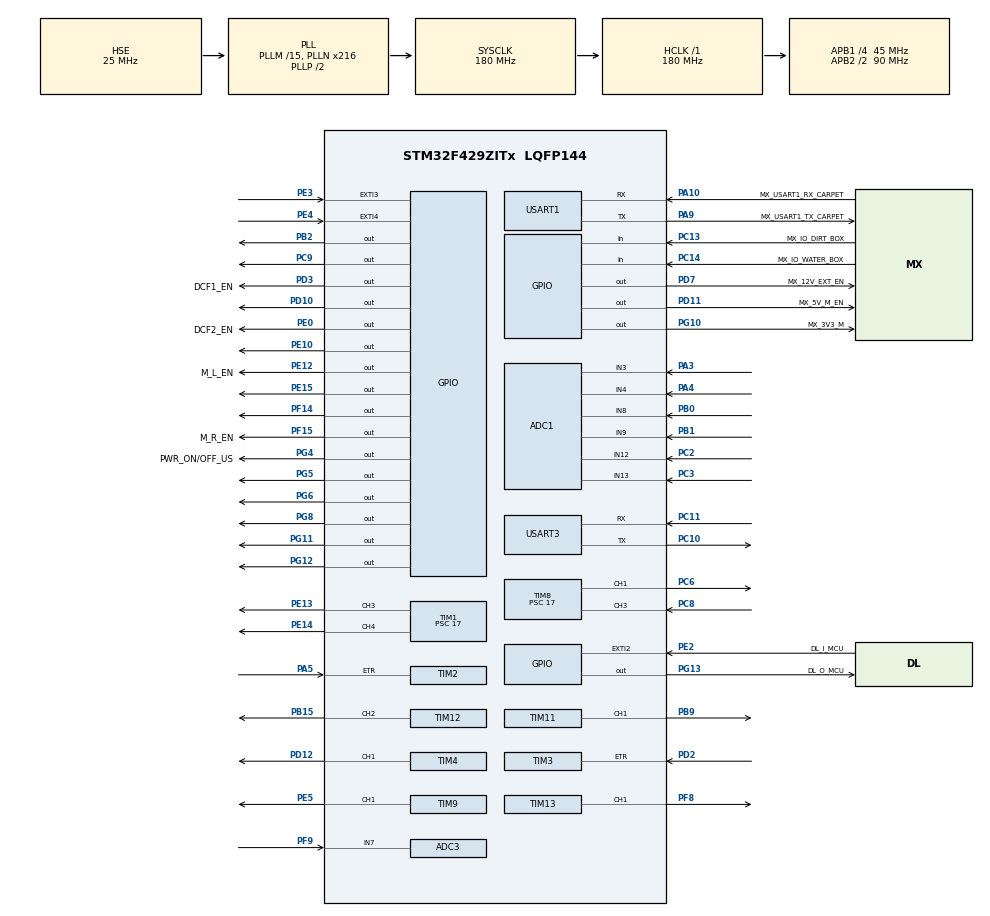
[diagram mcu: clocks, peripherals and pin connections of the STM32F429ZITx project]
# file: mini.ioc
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ADC1.Channel-0\#ChannelRegularConversion=ADC_CHANNEL_12
ADC1.ClockPrescaler=ADC_CLOCK_SYNC_PCLK_DIV4
ADC1.NbrOfConversionFlag=1
ADC1.Rank-0\#ChannelRegularConversion=1
ADC1.SamplingTime-0\#ChannelRegularConversion=ADC_SAMPLETIME_3CYCLES
ADC1.master=1
ADC3.Channel-0\#ChannelRegularConversion=ADC_CHANNEL_7
ADC3.ClockPrescaler=ADC_CLOCK_SYNC_PCLK_DIV4
ADC3.NbrOfConversionFlag=1
ADC3.Rank-0\#ChannelRegularConversion=1
ADC3.SamplingTime-0\#ChannelRegularConversion=ADC_SAMPLETIME_3CYCLES
Dma.Request0=USART3_RX
Dma.Request1=USART3_TX
Dma.USART3_RX.0.Direction=DMA_PERIPH_TO_MEMORY
Dma.USART3_RX.0.FIFOMode=DMA_FIFOMODE_DISABLE
Dma.USART3_RX.0.Instance=DMA1_Stream1
Dma.USART3_RX.0.MemDataAlignment=DMA_MDATAALIGN_BYTE
Dma.USART3_RX.0.MemInc=DMA_MINC_ENABLE
Dma.USART3_RX.0.Mode=DMA_CIRCULAR
Dma.USART3_RX.0.PeriphDataAlignment=DMA_PDATAALIGN_BYTE
Dma.USART3_RX.0.PeriphInc=DMA_PINC_DISABLE
Dma.USART3_RX.0.Priority=DMA_PRIORITY_VERY_HIGH
Dma.USART3_TX.1.Direction=DMA_MEMORY_TO_PERIPH
Dma.USART3_TX.1.FIFOMode=DMA_FIFOMODE_DISABLE
Dma.USART3_TX.1.Instance=DMA1_Stream3
Dma.USART3_TX.1.MemDataAlignment=DMA_MDATAALIGN_BYTE
Dma.USART3_TX.1.MemInc=DMA_MINC_ENABLE
Dma.USART3_TX.1.Mode=DMA_NORMAL
Dma.USART3_TX.1.PeriphDataAlignment=DMA_PDATAALIGN_BYTE
Dma.USART3_TX.1.PeriphInc=DMA_PINC_DISABLE
Dma.USART3_TX.1.Priority=DMA_PRIORITY_VERY_HIGH
FREERTOS.Tasks01=defaultTask,24,128,StartDefaultTask,Default,NULL,Static,defaultTaskBuffer,defaultTaskControlBlock;microros,24,1024,task_uros_run,As weak,NULL,Dynamic,NULL,NULL
FREERTOS.configGENERATE_RUN_TIME_STATS=1
FREERTOS.configTOTAL_HEAP_SIZE=30000
FREERTOS.configUSE_STATS_FORMATTING_FUNCTIONS=1
Mcu.Family=STM32F4
Mcu.Name=STM32F429ZITx
Mcu.Package=LQFP144
NVIC.DMA1_Stream1_IRQn=true\:5\:0\:false\:false\:true\:true\:false\:true
NVIC.DMA1_Stream3_IRQn=true\:5\:0\:false\:false\:true\:true\:false\:true
NVIC.EXTI2_IRQn=true\:5\:0\:false\:false\:true\:true\:true\:true
NVIC.EXTI3_IRQn=true\:5\:0\:false\:false\:true\:true\:true\:true
NVIC.EXTI4_IRQn=true\:5\:0\:false\:false\:true\:true\:true\:true
NVIC.PriorityGroup=NVIC_PRIORITYGROUP_4
NVIC.TIM2_IRQn=true\:5\:0\:false\:false\:true\:true\:true\:true
NVIC.TIM3_IRQn=true\:5\:0\:false\:false\:true\:true\:true\:true
NVIC.TIM6_DAC_IRQn=true\:15\:0\:false\:false\:true\:false\:false\:true
NVIC.TIM8_CC_IRQn=true\:5\:0\:false\:false\:true\:true\:true\:true
NVIC.TimeBase=TIM6_DAC_IRQn
NVIC.TimeBaseIP=TIM6
NVIC.USART1_IRQn=true\:5\:0\:false\:false\:true\:true\:true\:true
NVIC.USART3_IRQn=true\:5\:0\:false\:false\:true\:true\:true\:true
PA10.GPIO_Label=MX_USART1_RX_CARPET
PA10.Mode=Asynchronous
PA10.Signal=USART1_RX
PA3.Signal=ADCx_IN3
PA4.Signal=ADCx_IN4
PA5.Signal=S_TIM2_CH1_ETR
PA9.GPIO_Label=MX_USART1_TX_CARPET
PA9.Mode=Asynchronous
PA9.Signal=USART1_TX
PB0.Signal=ADCx_IN8
PB1.Signal=ADCx_IN9
PB15.Signal=S_TIM12_CH2
PB2/BOOT1.Signal=GPIO_Output
PB9.Signal=S_TIM11_CH1
PC10.Mode=Asynchronous
PC10.Signal=USART3_TX
PC11.Mode=Asynchronous
PC11.Signal=USART3_RX
PC13.GPIO_Label=MX_IO_DIRT_BOX
PC13.Signal=GPIO_Input
PC14/OSC32_IN.GPIO_Label=MX_IO_WATER_BOX
PC14/OSC32_IN.Signal=GPIO_Input
PC2.Signal=ADCx_IN12
PC3.Signal=ADCx_IN13
PC6.Signal=S_TIM8_CH1
PC8.Signal=S_TIM8_CH3
PC9.Signal=GPIO_Output
PD10.Signal=GPIO_Output
PD11.GPIO_Label=MX_5V_M_EN
PD11.GPIO_PuPd=GPIO_PULLUP
PD11.PinState=GPIO_PIN_SET
PD11.Signal=GPIO_Output
PD12.Signal=S_TIM4_CH1
PD2.Signal=S_TIM3_ETR
PD3.GPIO_Label=DCF1_EN
PD3.GPIO_PuPd=GPIO_PULLDOWN
PD3.Signal=GPIO_Output
PD7.GPIO_Label=MX_12V_EXT_EN
PD7.GPIO_PuPd=GPIO_PULLUP
PD7.PinState=GPIO_PIN_SET
PD7.Signal=GPIO_Output
PE0.GPIO_Label=DCF2_EN
PE0.GPIO_PuPd=GPIO_PULLDOWN
PE0.Signal=GPIO_Output
PE10.Signal=GPIO_Output
PE12.GPIO_Label=M_L_EN
PE12.GPIO_PuPd=GPIO_PULLUP
PE12.PinState=GPIO_PIN_SET
PE12.Signal=GPIO_Output
PE13.Signal=S_TIM1_CH3
PE14.Signal=S_TIM1_CH4
PE15.Signal=GPIO_Output
PE2.GPIO_Label=DL_I_MCU
PE2.GPIO_PuPd=GPIO_PULLDOWN
PE2.Signal=GPXTI2
PE3.GPIO_ModeDefaultEXTI=GPIO_MODE_IT_FALLING
PE3.GPIO_PuPd=GPIO_PULLUP
PE3.Signal=GPXTI3
PE4.GPIO_ModeDefaultEXTI=GPIO_MODE_IT_FALLING
PE4.GPIO_PuPd=GPIO_PULLUP
PE4.Signal=GPXTI4
PE5.Signal=S_TIM9_CH1
PF14.Signal=GPIO_Output
PF15.GPIO_Label=M_R_EN
PF15.GPIO_PuPd=GPIO_PULLUP
PF15.PinState=GPIO_PIN_SET
PF15.Signal=GPIO_Output
PF8.Signal=S_TIM13_CH1
PF9.Mode=IN7
PF9.Signal=ADC3_IN7
PG10.GPIO_Label=MX_3V3_M
PG10.GPIO_PuPd=GPIO_PULLUP
PG10.PinState=GPIO_PIN_SET
PG10.Signal=GPIO_Output
PG11.Signal=GPIO_Output
PG12.Signal=GPIO_Output
PG13.GPIO_Label=DL_O_MCU
PG13.GPIO_PuPd=GPIO_PULLUP
PG13.PinState=GPIO_PIN_SET
PG13.Signal=GPIO_Output
PG4.GPIO_Label=PWR_ON/OFF_US
PG4.GPIO_PuPd=GPIO_PULLUP
PG4.PinState=GPIO_PIN_SET
PG4.Signal=GPIO_Output
PG5.Signal=GPIO_Output
PG6.Signal=GPIO_Output
PG8.GPIO_PuPd=GPIO_PULLUP
PG8.PinState=GPIO_PIN_SET
PG8.Signal=GPIO_Output
PH0/OSC_IN.Mode=HSE-External-Oscillator
PH0/OSC_IN.Signal=RCC_OSC_IN
PH1/OSC_OUT.Mode=HSE-External-Oscillator
PH1/OSC_OUT.Signal=RCC_OSC_OUT
ProjectManager.HeapSize=0x4000
ProjectManager.StackSize=0x1000
ProjectManager.TargetToolchain=Makefile
RCC.48MHZClocksFreq_Value=90000000
RCC.AHBFreq_Value=180000000
RCC.APB1CLKDivider=RCC_HCLK_DIV4
RCC.APB1Freq_Value=45000000
RCC.APB1TimFreq_Value=90000000
RCC.APB2CLKDivider=RCC_HCLK_DIV2
RCC.APB2Freq_Value=90000000
RCC.APB2TimFreq_Value=180000000
RCC.CortexFreq_Value=180000000
RCC.HCLKFreq_Value=180000000
RCC.HSE_VALUE=25000000
RCC.HSI_VALUE=16000000
RCC.LSE_VALUE=32768
RCC.PLLM=15
RCC.PLLN=216
RCC.PLLSourceVirtual=RCC_PLLSOURCE_HSE
RCC.SYSCLKFreq_VALUE=180000000
RCC.SYSCLKSource=RCC_SYSCLKSOURCE_PLLCLK
RCC.VCOOutputFreq_Value=360000000
SH.ADCx_IN12.0=ADC1_IN12,IN12
SH.ADCx_IN13.0=ADC1_IN13,IN13
SH.ADCx_IN3.0=ADC1_IN3,IN3
SH.ADCx_IN4.0=ADC1_IN4,IN4
SH.ADCx_IN8.0=ADC1_IN8,IN8
SH.ADCx_IN9.0=ADC1_IN9,IN9
SH.S_TIM11_CH1.0=TIM11_CH1,PWM Generation1 CH1
SH.S_TIM12_CH2.0=TIM12_CH2,PWM Generation2 CH2
SH.S_TIM13_CH1.0=TIM13_CH1,PWM Generation1 CH1
SH.S_TIM1_CH3.0=TIM1_CH3,PWM Generation3 CH3
SH.S_TIM1_CH4.0=TIM1_CH4,PWM Generation4 CH4
SH.S_TIM2_CH1_ETR.0=TIM2_ETR,ClockSourceETR_Mode2
SH.S_TIM3_ETR.0=TIM3_ETR,ClockSourceETR_Mode2
SH.S_TIM4_CH1.0=TIM4_CH1,PWM Generation1 CH1
SH.S_TIM8_CH1.0=TIM8_CH1,PWM Generation1 CH1
SH.S_TIM8_CH3.0=TIM8_CH3,Input_Capture3_from_TI3
SH.S_TIM9_CH1.0=TIM9_CH1,PWM Generation1 CH1
TIM1.Channel-PWM\ Generation3\ CH3=TIM_CHANNEL_3
TIM1.Channel-PWM\ Generation4\ CH4=TIM_CHANNEL_4
TIM1.OCIdleState_4=TIM_OCIDLESTATE_RESET
TIM1.OCPolarity_4=TIM_OCPOLARITY_HIGH
TIM1.Period=249
TIM1.Prescaler=17
TIM11.Channel=TIM_CHANNEL_1
TIM11.Period=24
TIM11.Prescaler=179
TIM12.Channel-PWM\ Generation2\ CH2=TIM_CHANNEL_2
TIM12.OCPolarity_2=TIM_OCPOLARITY_HIGH
TIM12.Period=249
TIM12.Prescaler=17
TIM13.Channel=TIM_CHANNEL_1
TIM13.OCPolarity_1=TIM_OCPOLARITY_LOW
TIM13.Period=249
TIM13.Prescaler=17
TIM2.AutoReloadPreload=TIM_AUTORELOAD_PRELOAD_ENABLE
TIM2.Period=0xFFFFFFFF
TIM3.AutoReloadPreload=TIM_AUTORELOAD_PRELOAD_ENABLE
TIM3.Period=0xffff
TIM4.Channel-PWM\ Generation1\ CH1=TIM_CHANNEL_1
TIM4.OCPolarity_1=TIM_OCPOLARITY_HIGH
TIM4.Period=24
TIM4.Prescaler=179
TIM8.Channel-Input_Capture3_from_TI3=TIM_CHANNEL_3
TIM8.Channel-PWM\ Generation1\ CH1=TIM_CHANNEL_1
TIM8.Period=249
TIM8.Prescaler=17
TIM9.Channel-PWM\ Generation1\ CH1=TIM_CHANNEL_1
TIM9.OCPolarity_1=TIM_OCPOLARITY_HIGH
TIM9.Period=249
TIM9.Prescaler=17
USART1.VirtualMode=VM_ASYNC
USART3.VirtualMode=VM_ASYNC
VP_FREERTOS_VS_CMSIS_V2.Mode=CMSIS_V2
VP_RTC_VS_RTC_Activate.Mode=RTC_Enabled
VP_RTC_VS_RTC_Calendar.Mode=RTC_Calendar
VP_SYS_VS_tim6.Mode=TIM6
VP_TIM11_VS_ClockSourceINT.Mode=Enable_Timer
VP_TIM12_VS_ClockSourceINT.Mode=Internal
VP_TIM13_VS_ClockSourceINT.Mode=Enable_Timer
VP_TIM1_VS_ClockSourceINT.Mode=Internal
VP_TIM4_VS_ClockSourceINT.Mode=Internal
VP_TIM9_VS_ClockSourceINT.Mode=Internal
board=custom

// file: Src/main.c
/* USER CODE BEGIN Header */
/**
  ******************************************************************************
  * @file           : main.c
  * @brief          : Main program body
  ******************************************************************************
  * @attention
  *
  * Copyright (c) 2021 STMicroelectronics.
  * All rights reserved.
  *
  * This software is licensed under terms that can be found in the LICENSE file
  * in the root directory of this software component.
  * If no LICENSE file comes with this software, it is provided AS-IS.
  *
  ******************************************************************************
  */
/* USER CODE END Header */
#include "main.h"
#include "cmsis_os.h"
#include "adc.h"
#include "dma.h"
#include "rtc.h"
#include "tim.h"
#include "usart.h"
#include "gpio.h"

/* USER CODE BEGIN Includes */
#include "common.h"
#include "hal.h"
#include "fal.h"
#include "pal.h"
#include "devices.h"
#include "tim_core.h"
#include "cm_backtrace.h"
#include "SEGGER_RTT.h"
#include "SEGGER_RTT_Conf.h"
/* USER CODE END Includes */

void SystemClock_Config(void);
void MX_FREERTOS_Init(void);

int main(void)
{

  /* MCU Configuration--------------------------------------------------------*/

  /* Reset of all peripherals, Initializes the Flash interface and the Systick. */
  HAL_Init();

  /* USER CODE BEGIN Init */
  SEGGER_RTT_Init();
  common_init();
  devices_init();
  /* USER CODE END Init */

  /* Configure the system clock */
  SystemClock_Config();

  /* USER CODE BEGIN SysInit */
#ifdef IAP
    SCB->VTOR = FLASH_BASE | 0x00020200;
    __set_FAULTMASK(0);
    __enable_irq();
#endif
  /* USER CODE END SysInit */

  /* Initialize all configured peripherals */
  MX_GPIO_Init();
  MX_DMA_Init();
  MX_USART1_UART_Init();
  MX_USART3_UART_Init();
  MX_RTC_Init();
  MX_TIM13_Init();
  MX_ADC3_Init();
  MX_TIM4_Init();
  MX_TIM11_Init();
  MX_TIM8_Init();
  MX_TIM9_Init();
  MX_TIM12_Init();
  MX_TIM1_Init();
  MX_TIM3_Init();
  MX_TIM2_Init();

  MX_ADC1_Init();
  /* USER CODE BEGIN 2 */
  // HAL_GPIO_WritePin(GPIOG,GPIO_PIN_10,GPIO_PIN_SET);//3.3v供电
  //HAL_GPIO_WritePin(GPIOD,GPIO_PIN_11,GPIO_PIN_SET);//5v供电
  //HAL_GPIO_WritePin(GPIOF,GPIO_PIN_15,GPIO_PIN_SET);//右边刷 滚筒使能
  // HAL_GPIO_WritePin(GPIOG,GPIO_PIN_13,GPIO_PIN_SET);//驱动轮供电EN/复用外部驱动器电源使能
  // HAL_GPIO_WritePin(GPIOE,GPIO_PIN_2,GPIO_PIN_RESET);//急停
  // HAL_GPIO_WritePin(GPIOD,GPIO_PIN_7,GPIO_PIN_SET);//12v供电
  // //HAL_GPIO_WritePin(GPIOD,GPIO_PIN_10,GPIO_PIN_RESET);//左边刷正反向
  // HAL_GPIO_WritePin(GPIOE,GPIO_PIN_12,GPIO_PIN_SET);//左边刷、中扫、净水泵供电EN
  // //HAL_GPIO_WritePin(GPIOD,GPIO_PIN_3,GPIO_PIN_SET);//电磁阀1使能  清水阀
  // //HAL_GPIO_WritePin(GPIOE,GPIO_PIN_0,GPIO_PIN_SET);//电磁阀2使能  排污阀
  // HAL_GPIO_WritePin(GPIOG,GPIO_PIN_8,GPIO_PIN_SET);//风机使能

  cm_backtrace_init("c3_mcu_main", "V1.0.0", "V0.0.1");
  hal_init();
  /* USER CODE END 2 */

  /* Init scheduler */
  osKernelInitialize();  /* Call init function for freertos objects (in freertos.c) */
  MX_FREERTOS_Init();
  /* Start scheduler */
  osKernelStart();

  /* We should never get here as control is now taken by the scheduler */
  /* Infinite loop */
  while (1)
  {

  }
}

void SystemClock_Config(void)
{
  RCC_OscInitTypeDef RCC_OscInitStruct = {0};
  RCC_ClkInitTypeDef RCC_ClkInitStruct = {0};

  /** Configure the main internal regulator output voltage
  */
  __HAL_RCC_PWR_CLK_ENABLE();
  __HAL_PWR_VOLTAGESCALING_CONFIG(PWR_REGULATOR_VOLTAGE_SCALE1);
  /** Initializes the RCC Oscillators according to the specified parameters
  * in the RCC_OscInitTypeDef structure.
  */
  RCC_OscInitStruct.OscillatorType = RCC_OSCILLATORTYPE_LSI|RCC_OSCILLATORTYPE_HSE;
  RCC_OscInitStruct.HSEState = RCC_HSE_ON;
  RCC_OscInitStruct.LSIState = RCC_LSI_ON;
  RCC_OscInitStruct.PLL.PLLState = RCC_PLL_ON;
  RCC_OscInitStruct.PLL.PLLSource = RCC_PLLSOURCE_HSE;
  RCC_OscInitStruct.PLL.PLLM = 15;
  RCC_OscInitStruct.PLL.PLLN = 216;
  RCC_OscInitStruct.PLL.PLLP = RCC_PLLP_DIV2;
  RCC_OscInitStruct.PLL.PLLQ = 4;
  if (HAL_RCC_OscConfig(&RCC_OscInitStruct) != HAL_OK)
  {
    Error_Handler();
  }
  /** Activate the Over-Drive mode
  */
  if (HAL_PWREx_EnableOverDrive() != HAL_OK)
  {
    Error_Handler();
  }
  /** Initializes the CPU, AHB and APB buses clocks
  */
  RCC_ClkInitStruct.ClockType = RCC_CLOCKTYPE_HCLK|RCC_CLOCKTYPE_SYSCLK
                              |RCC_CLOCKTYPE_PCLK1|RCC_CLOCKTYPE_PCLK2;
  RCC_ClkInitStruct.SYSCLKSource = RCC_SYSCLKSOURCE_PLLCLK;
  RCC_ClkInitStruct.AHBCLKDivider = RCC_SYSCLK_DIV1;
  RCC_ClkInitStruct.APB1CLKDivider = RCC_HCLK_DIV4;
  RCC_ClkInitStruct.APB2CLKDivider = RCC_HCLK_DIV2;

  if (HAL_RCC_ClockConfig(&RCC_ClkInitStruct, FLASH_LATENCY_5) != HAL_OK)
  {
    Error_Handler();
  }
}

void HAL_TIM_PeriodElapsedCallback(TIM_HandleTypeDef *htim)
{
  if (htim->Instance == TIM6) {
    HAL_IncTick();
  }
  /* USER CODE BEGIN Callback 1 */
  else
  {
    MX_HAL_TIM_PeriodElapsedCallback(htim);
  }
  /* USER CODE END Callback 1 */
}

void Error_Handler(void)
{
  __disable_irq();
  while (1)
  {
  }
}

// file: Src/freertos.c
/* USER CODE BEGIN Header */
/**
  ******************************************************************************
  * File Name          : freertos.c
  * Description        : Code for freertos applications
  ******************************************************************************
  * @attention
  *
  * Copyright (c) 2021 STMicroelectronics.
  * All rights reserved.
  *
  * This software is licensed under terms that can be found in the LICENSE file
  * in the root directory of this software component.
  * If no LICENSE file comes with this software, it is provided AS-IS.
  *
  ******************************************************************************
  */
/* USER CODE END Header */

#include "FreeRTOS.h"
#include "task.h"
#include "main.h"
#include "cmsis_os.h"

/* USER CODE BEGIN Includes */
extern int dig_usound_S12_handle;
#include "devices.h"
#include "log.h"
#include "fal.h"
/* USER CODE END Includes */

typedef StaticTask_t osStaticThreadDef_t;

/* Definitions for defaultTask */
osThreadId_t defaultTaskHandle;
uint32_t defaultTaskBuffer[ 256 ];
osStaticThreadDef_t defaultTaskControlBlock;
const osThreadAttr_t defaultTask_attributes = {
  .name = "defaultTask",
  .cb_mem = &defaultTaskControlBlock,
  .cb_size = sizeof(defaultTaskControlBlock),
  .stack_mem = &defaultTaskBuffer[0],
  .stack_size = sizeof(defaultTaskBuffer),
  .priority = (osPriority_t) osPriorityNormal,
};
/* Definitions for microros */
osThreadId_t microrosHandle;
const osThreadAttr_t microros_attributes = {
  .name = "microros",
  .stack_size = 1024 * 4,
  .priority = (osPriority_t) osPriorityNormal,
};

void StartDefaultTask(void *argument);
void task_uros_run(void *argument);

void MX_FREERTOS_Init(void); /* (MISRA C 2004 rule 8.1) */

/* Hook prototypes */
void configureTimerForRunTimeStats(void);
unsigned long getRunTimeCounterValue(void);

/* USER CODE BEGIN 1 */
/* Functions needed when configGENERATE_RUN_TIME_STATS is on */
__weak void configureTimerForRunTimeStats(void)
{

}

__weak unsigned long getRunTimeCounterValue(void)
{
return 0;
}
/* USER CODE END 1 */

void MX_FREERTOS_Init(void) {

  /* Create the thread(s) */
  /* creation of defaultTask */
  defaultTaskHandle = osThreadNew(StartDefaultTask, NULL, &defaultTask_attributes);

  /* creation of microros */
  microrosHandle = osThreadNew(task_uros_run, NULL, &microros_attributes);

}

void StartDefaultTask(void *argument)
{
  /* USER CODE BEGIN StartDefaultTask */
  fal_Init();
  /* Infinite loop */
  for(;;)
  {
    osDelay(500);
  }
  /* USER CODE END StartDefaultTask */
}

__weak void task_uros_run(void *argument)
{
  for(;;)
  {
    osDelay(1);
  }
}
